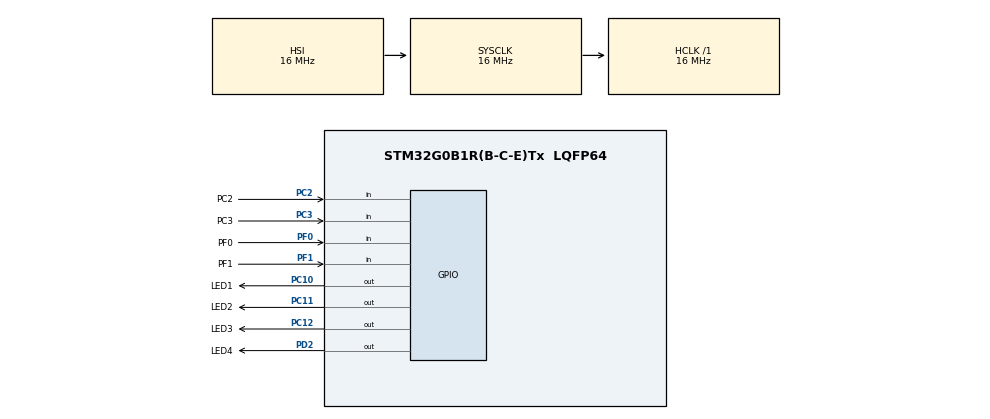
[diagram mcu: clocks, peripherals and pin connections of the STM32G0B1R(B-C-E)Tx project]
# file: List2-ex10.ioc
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Mcu.Family=STM32G0
Mcu.Name=STM32G0B1R(B-C-E)Tx
Mcu.Package=LQFP64
PA13.Mode=Serial_Wire
PA13.Signal=SYS_SWDIO
PA14-BOOT0.Mode=Serial_Wire
PA14-BOOT0.Signal=SYS_SWCLK
PC10.GPIO_Label=LED1
PC10.GPIO_Speed=GPIO_SPEED_FREQ_VERY_HIGH
PC10.Signal=GPIO_Output
PC11.GPIO_Label=LED2
PC11.GPIO_Speed=GPIO_SPEED_FREQ_VERY_HIGH
PC11.Signal=GPIO_Output
PC12.GPIO_Label=LED3
PC12.GPIO_Speed=GPIO_SPEED_FREQ_VERY_HIGH
PC12.Signal=GPIO_Output
PC2.GPIO_Label=PC2
PC2.GPIO_PuPd=GPIO_PULLUP
PC2.Signal=GPIO_Input
PC3.GPIO_Label=PC3
PC3.GPIO_PuPd=GPIO_PULLUP
PC3.Signal=GPIO_Input
PD2.GPIO_Label=LED4
PD2.GPIO_Speed=GPIO_SPEED_FREQ_VERY_HIGH
PD2.Signal=GPIO_Output
PF0-OSC_IN\ (PF0).GPIO_Label=PF0
PF0-OSC_IN\ (PF0).GPIO_PuPd=GPIO_PULLUP
PF0-OSC_IN\ (PF0).Signal=GPIO_Input
PF1-OSC_OUT\ (PF1).GPIO_Label=PF1
PF1-OSC_OUT\ (PF1).GPIO_PuPd=GPIO_PULLUP
PF1-OSC_OUT\ (PF1).Signal=GPIO_Input
ProjectManager.HeapSize=0x200
ProjectManager.StackSize=0x400
ProjectManager.TargetToolchain=STM32CubeIDE
RCC.AHBFreq_Value=16000000
RCC.CortexFreq_Value=16000000
RCC.EXTERNAL_CLOCK_VALUE=48000
RCC.HCLKFreq_Value=16000000
RCC.HSE_VALUE=8000000
RCC.HSI48_VALUE=48000000
RCC.HSI_VALUE=16000000
RCC.LSE_VALUE=32768
RCC.SYSCLKFreq_VALUE=16000000
RCC.USBFreq_Value=48000000
RCC.VCOOutputFreq_Value=128000000
VP_SYS_VS_DBSignals.Mode=DisableDeadBatterySignals
board=custom

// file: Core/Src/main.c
/* USER CODE BEGIN Header */
/**
  ******************************************************************************
  * @file           : main.c
  * @brief          : Main program body
  ******************************************************************************
  * @attention
  *
  * Copyright (c) 2022 STMicroelectronics.
  * All rights reserved.
  *
  * This software is licensed under terms that can be found in the LICENSE file
  * in the root directory of this software component.
  * If no LICENSE file comes with this software, it is provided AS-IS.
  *
  ******************************************************************************
  */
/* USER CODE END Header */
#include "main.h"
#include <stdint.h>

/* USER CODE BEGIN PV */
uint32_t bits = 0, flag=0, flag_2=0, flag_3=0, flag_4=0;
/* USER CODE END PV */

void SystemClock_Config(void);
static void MX_GPIO_Init(void);

int main(void)
{

  /* MCU Configuration--------------------------------------------------------*/

  /* Reset of all peripherals, Initializes the Flash interface and the Systick. */
  HAL_Init();

  /* Configure the system clock */
  SystemClock_Config();

  /* Initialize all configured peripherals */
  MX_GPIO_Init();

  /* Infinite loop */
  /* USER CODE BEGIN WHILE */
  while (1)
  {

	  if(flag == 0)
	  	  {
	  		  if(HAL_GPIO_ReadPin(PC3_GPIO_Port, PC3_Pin) != 0)
	  		  {
	  			bits += 1;
	  			flag=1;
	  			HAL_GPIO_WritePin(LED1_GPIO_Port, LED1_Pin, 1);

	  		  }
	  	  }
	  	  if(HAL_GPIO_ReadPin(PC3_GPIO_Port, PC3_Pin) == 0)
	  	  {
	  		  if(flag == 1)
	  		  {
	  	  			bits -= 1;
	  	  			HAL_GPIO_WritePin(LED1_GPIO_Port, LED1_Pin, 0);

	  		  }
	  		  flag=0;
	  	  }

	  	  if(flag_2 == 0)
	  	  {
	  		  if(HAL_GPIO_ReadPin(PC2_GPIO_Port, PC2_Pin) != 0)
	  		  {
	  			  bits += 2;
	  			  flag_2=1;
	  			HAL_GPIO_WritePin(LED2_GPIO_Port, LED2_Pin, 1);

	  		  }
	  	  }
	  	  if(HAL_GPIO_ReadPin(PC2_GPIO_Port, PC2_Pin) == 0)
	  	  {
	  		  if(flag_2 == 1)
	  		  {
	  	  			  bits -= 2;
	  	  			HAL_GPIO_WritePin(LED2_GPIO_Port, LED2_Pin, 0);
	  		  }
	  		  flag_2=0;
	  	  }

	  	  if(flag_3 == 0)
	  	  {
	  		  if(HAL_GPIO_ReadPin(PF1_GPIO_Port, PF1_Pin) != 0)
	  		  {
	  			  bits += 4;
	  			  flag_3=1;

	  			HAL_GPIO_WritePin(LED3_GPIO_Port, LED3_Pin, 1);

	  		  }
	  	  }
	  	  if(HAL_GPIO_ReadPin(PF1_GPIO_Port, PF1_Pin) == 0)
	  	  {
	  		  if(flag_3 == 1)
	  		  {
	  	  			  bits -= 4;
	  	  			HAL_GPIO_WritePin(LED3_GPIO_Port, LED3_Pin, 0);
	  		  }
	  		  flag_3=0;
	  	  }

	  	  if(flag_4 == 0)
	  	  {
			  if(HAL_GPIO_ReadPin(PF0_GPIO_Port, PF0_Pin) != 0)
			  {
				  bits += 8;
				  flag_4 =1;
				  HAL_GPIO_WritePin(LED4_GPIO_Port, LED4_Pin, 1);
			  }
	  	  }
	  	  if(HAL_GPIO_ReadPin(PF0_GPIO_Port, PF0_Pin) == 0)
	  	  {

	  		  if(flag_4 == 1)
	  		  {
	  			  bits -= 8;
	  			HAL_GPIO_WritePin(LED4_GPIO_Port, LED4_Pin, 0);
	  		  }
	  		  flag_4 =0;
	  	  }
    /* USER CODE END WHILE */

  }
}

void SystemClock_Config(void)
{
  RCC_OscInitTypeDef RCC_OscInitStruct = {0};
  RCC_ClkInitTypeDef RCC_ClkInitStruct = {0};

  /** Configure the main internal regulator output voltage
  */
  HAL_PWREx_ControlVoltageScaling(PWR_REGULATOR_VOLTAGE_SCALE1);
  /** Initializes the RCC Oscillators according to the specified parameters
  * in the RCC_OscInitTypeDef structure.
  */
  RCC_OscInitStruct.OscillatorType = RCC_OSCILLATORTYPE_HSI;
  RCC_OscInitStruct.HSIState = RCC_HSI_ON;
  RCC_OscInitStruct.HSIDiv = RCC_HSI_DIV1;
  RCC_OscInitStruct.HSICalibrationValue = RCC_HSICALIBRATION_DEFAULT;
  RCC_OscInitStruct.PLL.PLLState = RCC_PLL_NONE;
  if (HAL_RCC_OscConfig(&RCC_OscInitStruct) != HAL_OK)
  {
    Error_Handler();
  }
  /** Initializes the CPU, AHB and APB buses clocks
  */
  RCC_ClkInitStruct.ClockType = RCC_CLOCKTYPE_HCLK|RCC_CLOCKTYPE_SYSCLK
                              |RCC_CLOCKTYPE_PCLK1;
  RCC_ClkInitStruct.SYSCLKSource = RCC_SYSCLKSOURCE_HSI;
  RCC_ClkInitStruct.AHBCLKDivider = RCC_SYSCLK_DIV1;
  RCC_ClkInitStruct.APB1CLKDivider = RCC_HCLK_DIV1;

  if (HAL_RCC_ClockConfig(&RCC_ClkInitStruct, FLASH_LATENCY_0) != HAL_OK)
  {
    Error_Handler();
  }
}

static void MX_GPIO_Init(void)
{
  GPIO_InitTypeDef GPIO_InitStruct = {0};

  /* GPIO Ports Clock Enable */
  __HAL_RCC_GPIOC_CLK_ENABLE();
  __HAL_RCC_GPIOF_CLK_ENABLE();
  __HAL_RCC_GPIOA_CLK_ENABLE();
  __HAL_RCC_GPIOD_CLK_ENABLE();

  /*Configure GPIO pin Output Level */
  HAL_GPIO_WritePin(GPIOC, LED2_Pin|LED3_Pin|LED1_Pin, GPIO_PIN_RESET);

  /*Configure GPIO pin Output Level */
  HAL_GPIO_WritePin(LED4_GPIO_Port, LED4_Pin, GPIO_PIN_RESET);

  /*Configure GPIO pins : LED2_Pin LED3_Pin LED1_Pin */
  GPIO_InitStruct.Pin = LED2_Pin|LED3_Pin|LED1_Pin;
  GPIO_InitStruct.Mode = GPIO_MODE_OUTPUT_PP;
  GPIO_InitStruct.Pull = GPIO_NOPULL;
  GPIO_InitStruct.Speed = GPIO_SPEED_FREQ_VERY_HIGH;
  HAL_GPIO_Init(GPIOC, &GPIO_InitStruct);

  /*Configure GPIO pins : PF0_Pin PF1_Pin */
  GPIO_InitStruct.Pin = PF0_Pin|PF1_Pin;
  GPIO_InitStruct.Mode = GPIO_MODE_INPUT;
  GPIO_InitStruct.Pull = GPIO_PULLUP;
  HAL_GPIO_Init(GPIOF, &GPIO_InitStruct);

  /*Configure GPIO pins : PC2_Pin PC3_Pin */
  GPIO_InitStruct.Pin = PC2_Pin|PC3_Pin;
  GPIO_InitStruct.Mode = GPIO_MODE_INPUT;
  GPIO_InitStruct.Pull = GPIO_PULLUP;
  HAL_GPIO_Init(GPIOC, &GPIO_InitStruct);

  /*Configure GPIO pin : LED4_Pin */
  GPIO_InitStruct.Pin = LED4_Pin;
  GPIO_InitStruct.Mode = GPIO_MODE_OUTPUT_PP;
  GPIO_InitStruct.Pull = GPIO_NOPULL;
  GPIO_InitStruct.Speed = GPIO_SPEED_FREQ_VERY_HIGH;
  HAL_GPIO_Init(LED4_GPIO_Port, &GPIO_InitStruct);

}

void Error_Handler(void)
{
  __disable_irq();
  while (1)
  {
  }
}
